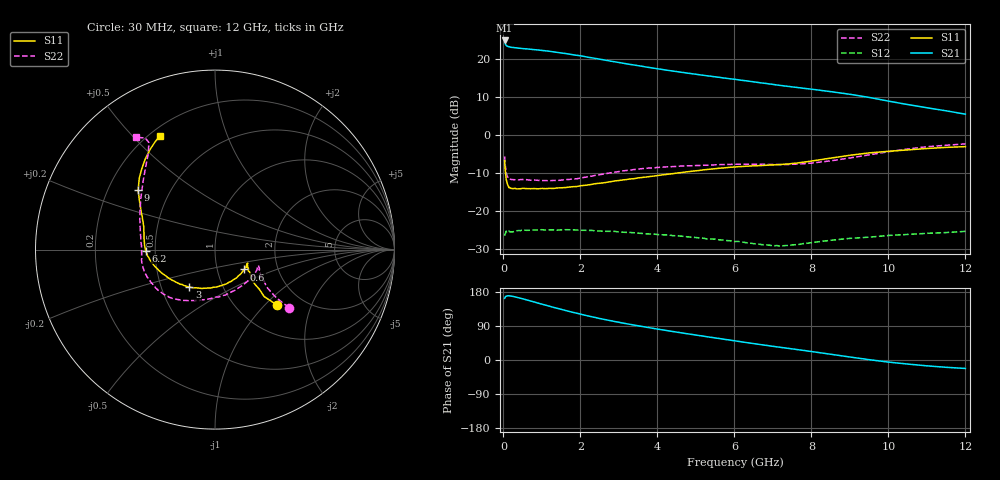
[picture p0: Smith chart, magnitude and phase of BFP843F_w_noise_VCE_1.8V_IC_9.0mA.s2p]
! Infineon Technologies  Discrete & RF Semiconductors
! BFP843F
! VCE =  1.8 V,  IC =  9.0 mA
! Common Emitter S-Parameters:  Aug 2013
# GHz  S  MA  R  50
!  f  S11  S21  S12  S22
! GHz  MAG  ANG  MAG  ANG  MAG  ANG  MAG  ANG
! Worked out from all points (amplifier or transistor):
!   103 points, 30 MHz to 12 GHz, reference 50 ohm
!   highest |S21| = 24.9 dB at 30 MHz (marker M1)
!   |S21| within 3 dB of that: start of sweep to 1.297 GHz
!   unconditionally stable (mu >= 1): 159.2 MHz to 924.3 MHz; 2.354 GHz to end of sweep
!   at 400 MHz: K = 1.01, MAG = 23.4 dB, |S12| = -25.1 dB
!   at 3.7 GHz: K = 1.11, MAG = 19.9 dB, |S12| = -26.0 dB
!   at 12 GHz: K = 1.34, MAG = 12.0 dB, |S12| = -25.4 dB
!   lowest NFmin = 0.79 dB at 450 MHz
!   S11 on the Smith chart (normalised r, x): 30 MHz: 1.50, -1.18; 600 MHz: 1.35, -0.31; 3 GHz: 0.69, -0.31; 6.2 GHz: 0.44, -0.01; 9 GHz: 0.33, +0.31; 12 GHz: 0.24, +0.60
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0.03  0.4627 -41.8  17.6 162.9  0.0474 29.5  0.5228 -38.1
0.04  0.3785 -43.7  16.52 163.9  0.0496 21.4  0.4374 -38.2
0.05  0.3319 -41.8  15.77 166.6  0.05 20.9  0.3866 -37.0
0.06  0.2982 -41.1  15.47 167.6  0.053 18.6  0.3536 -35.8
0.1  0.2288 -32.7  14.73 169.2  0.0542 11.7  0.2844 -27.8
0.13  0.2107 -29.0  14.62 169.6  0.0539 9.2  0.2686 -24.4
0.3  0.1985 -22.6  14.11 166.6  0.0542 3.8  0.2578 -20.6
0.6  0.197 -34.1  13.63 158.7  0.0556 1.3  0.2584 -30.7
0.9  0.1958 -48.0  13.19 150.1  0.0562 0.1  0.2531 -44.2
1.3  0.1978 -66.7  12.46 138.9  0.0565 -2.4  0.2525 -63.1
1.7  0.206 -84.6  11.66 128.4  0.0566 -3.7  0.2598 -81.0
2.1  0.2173 -100.1  10.83 118.5  0.0557 -5.5  0.277 -97.2
3  0.2521 -124.4  9.024 99.5  0.0529 -8.5  0.3303 -121.1
3.5  0.2726 -134.8  8.189 90.2  0.051 -9.9  0.3564 -129.6
4.1  0.2975 -146.3  7.34 80.0  0.0486 -10.6  0.3767 -138.1
5  0.3381 -161.4  6.322 65.8  0.0447 -10.7  0.3966 -150.0
6.1  0.383 -177.4  5.337 49.2  0.0397 -8.4  0.4123 -164.7
6.2  0.3849 -179.1  5.253 47.7  0.039 -7.9  0.4131 -166.0
8.5  0.4969 147.7  3.729 15.2  0.0411 14.7  0.4572 156.5
9  0.5415 142.3  3.44 7.9  0.0436 16.0  0.4988 146.1
10.5  0.637 127.6  2.521 -10.7  0.0491 18.0  0.6548 124.5
12  0.7036 115.9  1.884 -22.3  0.0539 21.5  0.7649 125.1
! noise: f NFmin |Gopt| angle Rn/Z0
0.45  0.79  0.05  13  0.03
0.9  0.8  0.06  29  0.04
1.5  0.85  0.06  47  0.04
1.9  0.9  0.07  67  0.05
2.4  0.94  0.07  83  0.05
3.5  0.99  0.09  117  0.1
5.5  1.1  0.16  -180  0.17
10  1.68  0.36  -116  0.27
